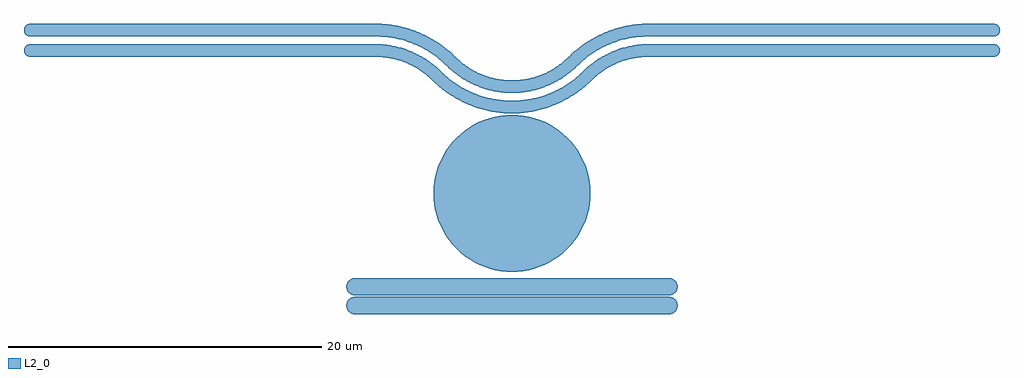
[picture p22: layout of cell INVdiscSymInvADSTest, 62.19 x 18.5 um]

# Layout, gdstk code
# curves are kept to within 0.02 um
import gdstk
lib = gdstk.Library(unit=1e-6, precision=1e-09)
def P(c, l, *ps):  # polygons
    for p in ps: c.add(gdstk.Polygon(p, *l))
L2_0 = (2, 0)

invdiscsyminvadstest = lib.new_cell('INVdiscSymInvADSTest')
P(invdiscsyminvadstest, L2_0, [(10,15),(9.288,15.051),(8.937,15.114),(8.253,15.315),(7.923,15.452),(7.297,15.794),(7.004,15.997),(6.464,16.464),(5.997,17.004),(5.794,17.297),(5.452,17.923),(5.315,18.253),(5.114,18.937),(5.051,19.288),(5,20),(5.051,20.712),(5.114,21.063),(5.315,21.747),(5.452,22.077),(5.794,22.703),(5.997,22.996),(6.464,23.536),(7.004,24.003),(7.297,24.206),(7.923,24.548),(8.253,24.685),(8.937,24.886),(9.288,24.949),(10,25),(10.712,24.949),(11.063,24.886),(11.747,24.685),(12.077,24.548),(12.703,24.206),(12.996,24.003),(13.536,23.536),(14.003,22.996),(14.206,22.703),(14.548,22.077),(14.685,21.747),(14.886,21.063),(14.949,20.712),(15,20),(14.949,19.288),(14.886,18.937),(14.685,18.253),(14.548,17.923),(14.206,17.297),(14.003,17.004),(13.536,16.464),(12.996,15.997),(12.703,15.794),(12.077,15.452),(11.747,15.315),(11.063,15.114),(10.712,15.051)],
  [(10,25.1),(9.23,25.141),(8.595,25.238),(7.849,25.429),(7.126,25.698),(6.437,26.043),(5.789,26.46),(5.285,26.859),(4.503,27.574),(3.905,27.989),(3.421,28.242),(2.999,28.412),(2.475,28.566),(2.028,28.651),(1.303,28.703),(-20.697,28.703),(-20.697,29.503),(1.303,29.503),(2.038,29.457),(2.557,29.368),(3.166,29.201),(3.754,28.969),(4.222,28.73),(5.005,28.197),(5.809,27.463),(6.257,27.109),(6.833,26.738),(7.341,26.478),(7.979,26.228),(8.64,26.046),(9.316,25.937),(10,25.9),(10.684,25.937),(11.36,26.046),(12.021,26.228),(12.659,26.478),(13.167,26.738),(13.743,27.109),(14.191,27.463),(14.995,28.197),(15.778,28.73),(16.246,28.969),(16.834,29.201),(17.443,29.368),(17.962,29.457),(18.697,29.503),(40.697,29.503),(40.697,28.703),(18.697,28.703),(17.972,28.651),(17.525,28.566),(17.001,28.412),(16.579,28.242),(16.095,27.989),(15.497,27.574),(14.715,26.859),(14.211,26.46),(13.563,26.043),(12.874,25.698),(12.151,25.429),(11.405,25.238),(10.77,25.141)],
  [(10,26.4),(9.369,26.434),(8.746,26.535),(8.137,26.702),(7.549,26.933),(7.08,27.173),(6.549,27.514),(6.136,27.841),(5.229,28.657),(4.47,29.164),(3.857,29.471),(3.324,29.675),(2.774,29.831),(2.213,29.937),(1.303,30.003),(-20.697,30.003),(-20.697,30.803),(1.303,30.803),(2.2,30.746),(2.833,30.638),(3.454,30.474),(4.058,30.255),(4.753,29.922),(5.195,29.66),(5.72,29.289),(6.66,28.446),(7.017,28.163),(7.476,27.868),(7.881,27.661),(8.389,27.461),(8.916,27.317),(9.455,27.229),(10,27.2),(10.545,27.229),(11.084,27.317),(11.611,27.461),(12.119,27.661),(12.524,27.868),(12.983,28.163),(13.34,28.446),(14.28,29.289),(14.805,29.66),(15.247,29.922),(15.942,30.255),(16.546,30.474),(17.167,30.638),(17.8,30.746),(18.697,30.803),(40.697,30.803),(40.697,30.003),(18.697,30.003),(17.787,29.937),(17.226,29.831),(16.676,29.675),(16.143,29.471),(15.53,29.164),(14.771,28.657),(13.864,27.841),(13.451,27.514),(12.92,27.173),(12.451,26.933),(11.863,26.702),(11.254,26.535),(10.631,26.434)],
  [(-20.697,28.703),(-20.853,28.734),(-20.98,28.82),(-21.066,28.947),(-21.097,29.103),(-21.066,29.258),(-20.98,29.385),(-20.853,29.471),(-20.697,29.503)],
  [(40.697,28.703),(40.697,29.503),(40.853,29.471),(40.98,29.385),(41.066,29.258),(41.097,29.103),(41.066,28.947),(40.98,28.82),(40.853,28.734)],
  [(-20.697,30.003),(-20.853,30.034),(-20.98,30.12),(-21.066,30.247),(-21.097,30.403),(-21.066,30.558),(-20.98,30.685),(-20.853,30.771),(-20.697,30.803)],
  [(40.697,30.003),(40.697,30.803),(40.853,30.771),(40.98,30.685),(41.066,30.558),(41.097,30.403),(41.066,30.247),(40.98,30.12),(40.853,30.034)],
  [(0,12.3),(-0.214,12.343),(-0.389,12.461),(-0.507,12.636),(-0.55,12.85),(-0.507,13.064),(-0.389,13.239),(-0.214,13.357),(0,13.4),(20,13.4),(20.214,13.357),(20.389,13.239),(20.507,13.064),(20.55,12.85),(20.507,12.636),(20.389,12.461),(20.214,12.343),(20,12.3)],
  [(0,13.5),(-0.214,13.543),(-0.389,13.661),(-0.507,13.836),(-0.55,14.05),(-0.507,14.264),(-0.389,14.439),(-0.214,14.557),(0,14.6),(20,14.6),(20.214,14.557),(20.389,14.439),(20.507,14.264),(20.55,14.05),(20.507,13.836),(20.389,13.661),(20.214,13.543),(20,13.5)])

lib.write_gds('INVdiscSymInvADSTest.gds')
